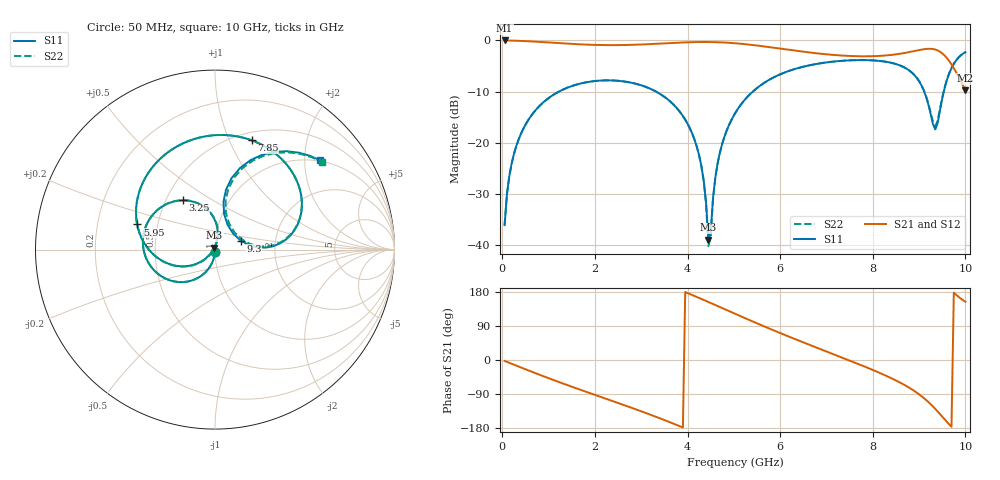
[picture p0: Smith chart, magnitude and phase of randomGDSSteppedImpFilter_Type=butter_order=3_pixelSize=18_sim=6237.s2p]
! freq	dB(S11)	phase(S11)	dB(S12)	phase(S12)
!  dB(S21)	phase(S21)	dB(S22)	phase(S22)
!S-par simulation data
#  GHz  S  DB  R 50
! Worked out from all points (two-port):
!   200 points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, 50 MHz to 10 GHz, reference 50 ohm
!   highest |S21| = 0.00 dB at 50 MHz (marker M1); lowest = -9.7 dB at 10 GHz (marker M2)
!   |S21| within 3 dB of the highest: start of sweep to 7.43 GHz; 8.185 GHz to 9.557 GHz (1.371 GHz wide, 15.5 % of centre)
!   lowest |S11| = -39.0 dB at 4.45 GHz (marker M3), VSWR 1.02, Z = 49.6 + j1.03 ohm
!   |S11| at or under -10 dB: start of sweep to 1.224 GHz; 3.319 GHz to 5.41 GHz (2.09 GHz wide, 47.9 % of centre); 9.11 GHz to 9.534 GHz (424.4 MHz wide, 4.55 % of centre)
!   |S22| runs from -40.2 to -2.3 dB; largest |S21 - S12| = 0
!   S11 on the Smith chart (normalised r, x): 50 MHz: 1.00, -0.03; 3.25 GHz: 0.61, +0.37; 5.95 GHz: 0.38, +0.13; 7.85 GHz: 0.59, +1.21; 9.3 GHz: 1.33, +0.14; 10 GHz: 0.98, +2.37
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0.05  -36.12 -92.5  -0.00 -2.5  -0.00 -2.5  -36.12 -92.5
0.2  -24.16 -100.3  -0.03 -9.9  -0.03 -9.9  -24.16 -100.3
0.5  -16.49 -115.1  -0.13 -24.5  -0.13 -24.5  -16.49 -115.1
1.75  -8.30 -171.9  -0.79 -81.3  -0.79 -81.3  -8.30 -172.0
2.5  -7.89 156.2  -0.91 -113.4  -0.91 -113.4  -7.89 156.0
3.25  -9.68 123.3  -0.69 -146.7  -0.69 -146.7  -9.68 123.0
3.4  -10.42 116.5  -0.62 -153.7  -0.62 -153.7  -10.42 116.1
4.2  -20.77 80.4  -0.32 166.4  -0.32 166.4  -20.78 79.0
4.35  -27.46 78.7  -0.30 158.5  -0.30 158.5  -27.53 75.7
4.45  -38.96 112.1  -0.31 153.1  -0.31 153.1  -40.24 103.4
4.5  -37.53 -163.2  -0.31 150.5  -0.31 150.5  -38.48 -156.1
4.65  -24.00 -136.3  -0.35 142.4  -0.35 142.4  -24.05 -134.4
5.05  -13.90 -152.5  -0.56 120.7  -0.56 120.7  -13.91 -152.0
5.95  -6.83 162.1  -1.54 73.6  -1.54 73.6  -6.83 162.2
6.7  -4.74 125.9  -2.43 36.9  -2.43 36.9  -4.74 125.9
7.85  -3.85 71.4  -3.10 -18.6  -3.10 -18.6  -3.85 71.4
8.35  -4.28 45.9  -2.88 -45.1  -2.88 -45.1  -4.28 46.0
8.95  -7.33 10.9  -1.97 -86.1  -1.97 -86.1  -7.30 11.5
9.3  -16.38 19.3  -1.68 -122.7  -1.68 -122.7  -15.92 20.8
9.4  -16.18 63.2  -1.95 -135.7  -1.95 -135.7  -15.66 61.4
9.6  -7.76 76.9  -3.44 -163.2  -3.44 -163.2  -7.67 75.2
10  -2.29 40.4  -9.75 153.8  -9.75 153.8  -2.27 39.5
